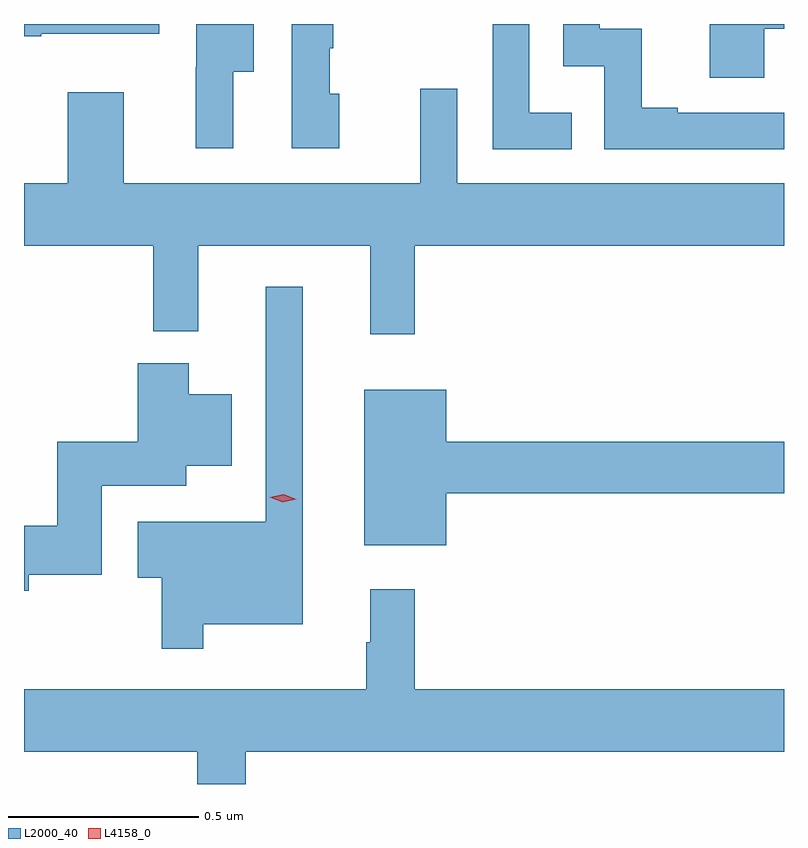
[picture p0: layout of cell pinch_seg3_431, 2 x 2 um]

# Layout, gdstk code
import gdstk
lib = gdstk.Library(unit=1e-6, precision=1e-09)
def P(c, l, *ps):  # polygons
    for p in ps: c.add(gdstk.Polygon(p, *l))
L2000_40 = (2000, 40)
L4158_0 = (4158, 0)

pinch_seg3_431 = lib.new_cell('pinch_seg3_431')
P(pinch_seg3_431, L2000_40, [(939.713,689.277),(939.6,689.277),(939.6,689.511),(939.504,689.511),(939.504,689.181),(939.713,689.181)],
  [(939.1,689.328),(939.075,689.328),(939.075,689.447),(939.085,689.447),(939.085,689.511),(938.976,689.511),(938.976,689.184),(939.1,689.184)],
  [(938.317,689.486),(938.627,689.486),(938.627,689.511),(938.271,689.511),(938.271,689.479),(938.317,689.479)],
  [(940.219,689.499),(940.271,689.499),(940.271,689.511),(940.075,689.511),(940.075,689.37),(940.219,689.37)],
  [(940.271,689.277),(939.991,689.277),(939.991,689.29),(939.896,689.29),(939.896,689.498),(939.786,689.498),(939.786,689.511),(939.69,689.511),(939.69,689.4),(939.798,689.4),(939.798,689.181),(940.271,689.181)],
  [(938.821,689.386),(938.875,689.386),(938.875,689.511),(938.724,689.511),(938.724,689.397),(938.723,689.397),(938.723,689.184),(938.821,689.184)],
  [(939.299,688.928),(940.271,688.928),(940.271,689.092),(939.411,689.092),(939.411,689.341),(939.314,689.341),(939.314,689.092),(938.533,689.092),(938.533,689.332),(938.386,689.332),(938.386,689.092),(938.271,689.092),(938.271,688.928),(938.611,688.928),(938.611,688.703),(938.729,688.703),(938.729,688.928),(939.182,688.928),(939.182,688.695),(939.299,688.695)],
  [(938.743,687.932),(939.004,687.932),(939.004,688.819),(938.907,688.819),(938.907,688.201),(938.57,688.201),(938.57,688.054),(938.633,688.054),(938.633,687.867),(938.743,687.867)],
  [(938.284,688.062),(938.475,688.062),(938.475,688.296),(938.698,688.296),(938.698,688.349),(938.818,688.349),(938.818,688.537),(938.704,688.537),(938.704,688.618),(938.57,688.618),(938.57,688.412),(938.359,688.412),(938.359,688.19),(938.271,688.19),(938.271,688.019),(938.284,688.019)],
  [(939.382,688.276),(940.271,688.276),(940.271,688.412),(939.382,688.412),(939.382,688.549),(939.167,688.549),(939.167,688.139),(939.382,688.139)],
  [(938.855,687.596),(940.271,687.596),(940.271,687.76),(939.299,687.76),(939.299,688.024),(939.182,688.024),(939.182,687.884),(939.171,687.884),(939.171,687.76),(938.271,687.76),(938.271,687.596),(938.727,687.596),(938.727,687.511),(938.855,687.511)])
P(pinch_seg3_431, L4158_0, [(938.952,688.253),(938.918,688.265),(938.917,688.265),(938.918,688.266),(938.954,688.273),(938.988,688.261),(938.988,688.261),(938.988,688.261)])

lib.write_gds('pinch_seg3_431.gds')
